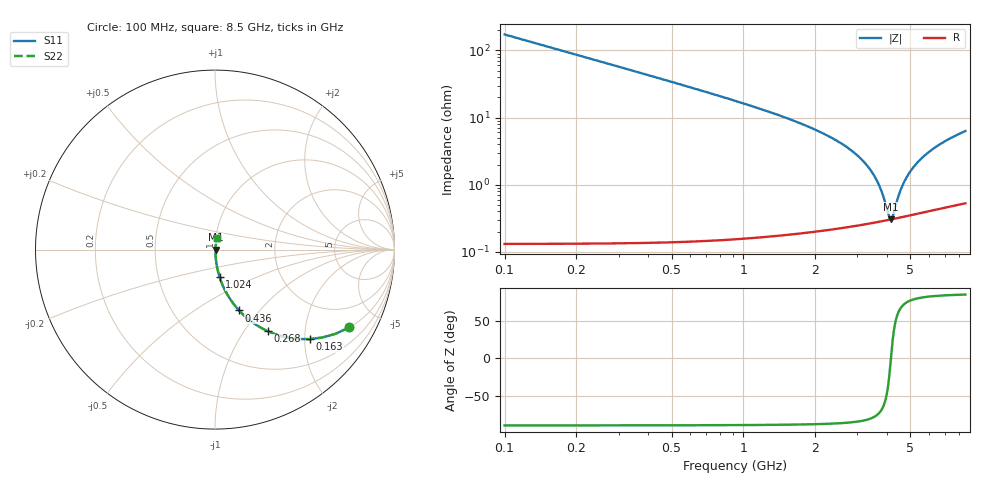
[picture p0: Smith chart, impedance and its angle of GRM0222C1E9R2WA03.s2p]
!Murata Part Number: GRM0222C1E9R2WA03
!These Parameters are Measured in Series Mode Connection
!Data Generated on Mar 30, 2021
!  o--ll--o
!Port1  Port2
!  o------o
!Operation Temp=25[degC], DC Bias Voltage=0[V]
!Freq. Start=100[MHz] Stop=9[GHz] 401[Steps]
# Hz S RI R 50
!Freq.(Hz) S11(Real) S11(Imag) S21(Real) S21(Imag) S12(Real) S12(Imag) S22(Real) S22(Imag)
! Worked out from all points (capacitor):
!   401 points, 100 MHz to 8.5 GHz, reference 50 ohm
!   read as one part in series: C = 9.2 pF near 142 MHz
!   lowest |Z| = 305 mohm at 4.132 GHz (marker M1)
!   series resonance near 4.146 GHz, so ESL is about 160 pH
!   S11 on the Smith chart (normalised r, x): 100 MHz: 1.00, -3.46; 163 MHz: 1.00, -2.12; 268 MHz: 1.00, -1.29; 436 MHz: 1.00, -0.78; 1.024 GHz: 1.00, -0.32; 8.5 GHz: 1.01, +0.13
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1e8  0.7492 -0.4331  0.2508 0.4331  0.2508 0.4331  0.7492 -0.4331
1.63e8  0.5289 -0.4985  0.4711 0.4985  0.4711 0.4985  0.5289 -0.4985
2.68e8  0.2927 -0.454  0.7073 0.454  0.7073 0.454  0.2927 -0.454
3.52e8  0.1929 -0.3932  0.8071 0.3932  0.8071 0.3932  0.1929 -0.3932
4.36e8  0.1342 -0.3391  0.8658 0.3391  0.8658 0.3391  0.1342 -0.3391
6.67e8  0.0611 -0.2366  0.9389 0.2366  0.9389 0.2366  0.0611 -0.2366
1.024e9  0.0259 -0.1539  0.9741 0.1539  0.9741 0.1539  0.0259 -0.1539
1.507e9  0.0115 -0.0979  0.9885 0.0979  0.9885 0.0979  0.0115 -0.0979
2.914e9  0.00329 -0.0296  0.9967 0.0296  0.9967 0.0296  0.00329 -0.0296
3.292e9  0.00296 -0.0191  0.997 0.0191  0.997 0.0191  0.00296 -0.0191
3.586e9  0.00289 -0.0119  0.9971 0.0119  0.9971 0.0119  0.00289 -0.0119
3.775e9  0.0029 -0.00769  0.9971 0.00769  0.9971 0.00769  0.0029 -0.00769
4.048e9  0.00299 -0.00195  0.997 0.00195  0.997 0.00195  0.00299 -0.00195
4.132e9  0.00303 -0.000275  0.997 0.000275  0.997 0.000275  0.00303 -0.000275
4.195e9  0.00306 0.000962  0.9969 -0.000962  0.9969 -0.000962  0.00306 0.000962
4.3e9  0.00313 0.00298  0.9969 -0.00298  0.9969 -0.00298  0.00313 0.00298
4.531e9  0.00329 0.00725  0.9967 -0.00725  0.9967 -0.00725  0.00329 0.00725
4.825e9  0.00355 0.0124  0.9964 -0.0124  0.9964 -0.0124  0.00355 0.0124
5.203e9  0.00395 0.0186  0.9961 -0.0186  0.9961 -0.0186  0.00395 0.0186
5.707e9  0.00457 0.0263  0.9954 -0.0263  0.9954 -0.0263  0.00457 0.0263
7.114e9  0.00668 0.0454  0.9933 -0.0454  0.9933 -0.0454  0.00668 0.0454
8.5e9  0.00914 0.062  0.9909 -0.062  0.9909 -0.062  0.00914 0.062
